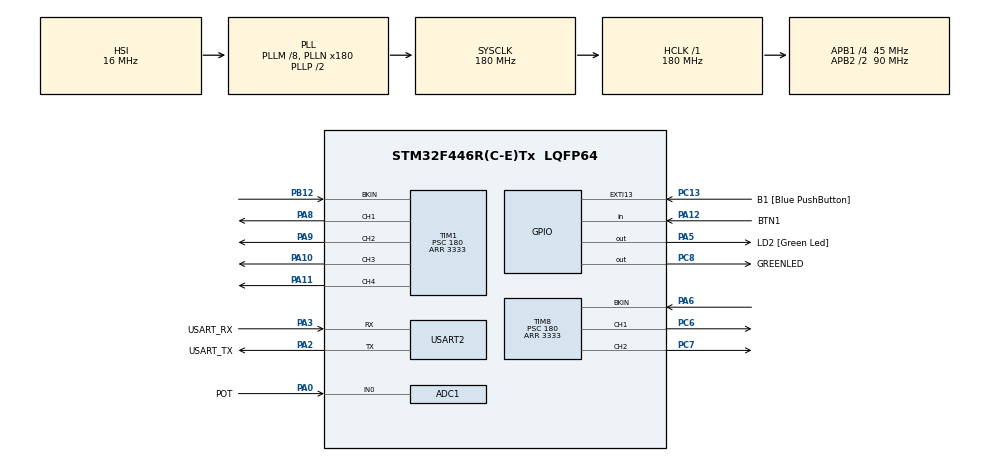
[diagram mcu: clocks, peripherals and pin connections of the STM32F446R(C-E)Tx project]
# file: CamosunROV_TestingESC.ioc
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ADC1.Channel-0\#ChannelRegularConversion=ADC_CHANNEL_0
ADC1.ContinuousConvMode=ENABLE
ADC1.DMAContinuousRequests=ENABLE
ADC1.InjNumberOfConversion=0
ADC1.NbrOfConversion=1
ADC1.NbrOfConversionFlag=1
ADC1.Rank-0\#ChannelRegularConversion=1
ADC1.SamplingTime-0\#ChannelRegularConversion=ADC_SAMPLETIME_480CYCLES
ADC1.ScanConvMode=ENABLE
ADC1.master=1
Dma.ADC1.0.Direction=DMA_PERIPH_TO_MEMORY
Dma.ADC1.0.FIFOMode=DMA_FIFOMODE_DISABLE
Dma.ADC1.0.Instance=DMA2_Stream0
Dma.ADC1.0.MemDataAlignment=DMA_MDATAALIGN_HALFWORD
Dma.ADC1.0.MemInc=DMA_MINC_ENABLE
Dma.ADC1.0.Mode=DMA_CIRCULAR
Dma.ADC1.0.PeriphDataAlignment=DMA_PDATAALIGN_HALFWORD
Dma.ADC1.0.PeriphInc=DMA_PINC_DISABLE
Dma.ADC1.0.Priority=DMA_PRIORITY_LOW
Dma.Request0=ADC1
Mcu.Family=STM32F4
Mcu.Name=STM32F446R(C-E)Tx
Mcu.Package=LQFP64
NVIC.DMA2_Stream0_IRQn=true\:0\:0\:false\:false\:true\:false\:true\:true
NVIC.PriorityGroup=NVIC_PRIORITYGROUP_0
NVIC.TIM1_BRK_TIM9_IRQn=true\:0\:0\:false\:false\:true\:true\:true\:true
NVIC.TIM8_BRK_TIM12_IRQn=true\:0\:0\:false\:false\:true\:true\:true\:true
PA0-WKUP.GPIO_Label=POT
PA0-WKUP.Signal=ADCx_IN0
PA10.Signal=S_TIM1_CH3
PA11.Signal=S_TIM1_CH4
PA12.GPIO_Label=BTN1
PA12.Signal=GPIO_Input
PA13.GPIO_Label=TMS
PA13.Mode=Serial_Wire
PA13.Signal=SYS_JTMS-SWDIO
PA14.GPIO_Label=TCK
PA14.Mode=Serial_Wire
PA14.Signal=SYS_JTCK-SWCLK
PA2.GPIO_Label=USART_TX
PA2.Mode=Asynchronous
PA2.Signal=USART2_TX
PA3.GPIO_Label=USART_RX
PA3.Mode=Asynchronous
PA3.Signal=USART2_RX
PA5.GPIO_Label=LD2 [Green Led]
PA5.Signal=GPIO_Output
PA6.Mode=Activate-Break-Input
PA6.Signal=TIM8_BKIN
PA8.Signal=S_TIM1_CH1
PA9.Signal=S_TIM1_CH2
PB12.Mode=Activate-Break-Input
PB12.Signal=TIM1_BKIN
PB3.GPIO_Label=SWO
PB3.Signal=SYS_JTDO-SWO
PC13.GPIO_Label=B1 [Blue PushButton]
PC13.GPIO_ModeDefaultEXTI=GPIO_MODE_IT_FALLING
PC13.Signal=GPXTI13
PC14-OSC32_IN.Mode=LSE-External-Oscillator
PC14-OSC32_IN.Signal=RCC_OSC32_IN
PC15-OSC32_OUT.Mode=LSE-External-Oscillator
PC15-OSC32_OUT.Signal=RCC_OSC32_OUT
PC6.Signal=S_TIM8_CH1
PC7.Signal=S_TIM8_CH2
PC8.GPIO_Label=GREENLED
PC8.Signal=GPIO_Output
PH0-OSC_IN.Mode=HSE-External-Oscillator
PH0-OSC_IN.Signal=RCC_OSC_IN
PH1-OSC_OUT.Mode=HSE-External-Oscillator
PH1-OSC_OUT.Signal=RCC_OSC_OUT
ProjectManager.HeapSize=0x200
ProjectManager.StackSize=0x400
ProjectManager.TargetToolchain=STM32CubeIDE
RCC.48MHZClocksFreq_Value=84000000
RCC.AHBFreq_Value=180000000
RCC.APB1CLKDivider=RCC_HCLK_DIV4
RCC.APB1Freq_Value=45000000
RCC.APB1TimFreq_Value=90000000
RCC.APB2CLKDivider=RCC_HCLK_DIV2
RCC.APB2Freq_Value=90000000
RCC.APB2TimFreq_Value=180000000
RCC.CortexFreq_Value=180000000
RCC.FLatency-AdvancedSettings=FLASH_LATENCY_5
RCC.HCLKFreq_Value=180000000
RCC.HSE_VALUE=8000000
RCC.HSI_VALUE=16000000
RCC.PLLM=8
RCC.PLLN=180
RCC.SYSCLKFreq_VALUE=180000000
RCC.SYSCLKSource=RCC_SYSCLKSOURCE_PLLCLK
RCC.USBFreq_Value=180000000
RCC.VCOOutputFreq_Value=360000000
SH.ADCx_IN0.0=ADC1_IN0,IN0
SH.S_TIM1_CH1.0=TIM1_CH1,PWM Generation1 CH1
SH.S_TIM1_CH2.0=TIM1_CH2,PWM Generation2 CH2
SH.S_TIM1_CH3.0=TIM1_CH3,PWM Generation3 CH3
SH.S_TIM1_CH4.0=TIM1_CH4,PWM Generation4 CH4
SH.S_TIM8_CH1.0=TIM8_CH1,PWM Generation1 CH1
SH.S_TIM8_CH2.0=TIM8_CH2,PWM Generation2 CH2
TIM1.AutoReloadPreload=TIM_AUTORELOAD_PRELOAD_DISABLE
TIM1.BreakState=TIM_BREAK_ENABLE
TIM1.Channel-PWM\ Generation1\ CH1=TIM_CHANNEL_1
TIM1.Channel-PWM\ Generation2\ CH2=TIM_CHANNEL_2
TIM1.Channel-PWM\ Generation3\ CH3=TIM_CHANNEL_3
TIM1.Channel-PWM\ Generation4\ CH4=TIM_CHANNEL_4
TIM1.OffStateIDLEMode=TIM_OSSI_ENABLE
TIM1.OffStateRunMode=TIM_OSSR_ENABLE
TIM1.Period=3333
TIM1.Prescaler=180
TIM8.BreakState=TIM_BREAK_ENABLE
TIM8.Channel-PWM\ Generation1\ CH1=TIM_CHANNEL_1
TIM8.Channel-PWM\ Generation2\ CH2=TIM_CHANNEL_2
TIM8.OffStateIDLEMode=TIM_OSSI_ENABLE
TIM8.OffStateRunMode=TIM_OSSR_ENABLE
TIM8.Period=3333
TIM8.Prescaler=180
USART2.VirtualMode=VM_ASYNC
VP_TIM1_VS_ClockSourceINT.Mode=Internal
VP_TIM8_VS_ClockSourceINT.Mode=Internal
board=NUCLEO-F446RE

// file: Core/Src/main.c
/* USER CODE BEGIN Header */
/**
 ******************************************************************************
 * @file           : main.c
 * @brief          : Main program body
 ******************************************************************************
 * @attention
 *
 * Copyright (c) 2026 STMicroelectronics.
 * All rights reserved.
 *
 * This software is licensed under terms that can be found in the LICENSE file
 * in the root directory of this software component.
 * If no LICENSE file comes with this software, it is provided AS-IS.
 *
 ******************************************************************************
 */
/* USER CODE END Header */
#include "main.h"

/* USER CODE BEGIN Includes */
#include <math.h>
#include <stdio.h>
#include "my_utils.h"
#include "motors.h"
/* USER CODE END Includes */

ADC_HandleTypeDef hadc1;
DMA_HandleTypeDef hdma_adc1;

TIM_HandleTypeDef htim1;
TIM_HandleTypeDef htim8;

UART_HandleTypeDef huart2;

/* USER CODE BEGIN PV */
volatile uint16_t adcValue = 0; // volatile because it's updated in the DMA interrupt callback
/* USER CODE END PV */

void SystemClock_Config(void);
static void MX_GPIO_Init(void);
static void MX_DMA_Init(void);
static void MX_USART2_UART_Init(void);
static void MX_ADC1_Init(void);
static void MX_TIM1_Init(void);
static void MX_TIM8_Init(void);

int main(void) {

	/* MCU Configuration--------------------------------------------------------*/

	/* Reset of all peripherals, Initializes the Flash interface and the Systick. */
	HAL_Init();

	/* Configure the system clock */
	SystemClock_Config();

	/* Initialize all configured peripherals */
	MX_GPIO_Init();
	MX_DMA_Init();
	MX_USART2_UART_Init();
	MX_ADC1_Init();
	MX_TIM1_Init();
	MX_TIM8_Init();
	/* USER CODE BEGIN 2 */
	HAL_ADC_Start_DMA(&hadc1, (uint32_t*) &adcValue, 1); // Start ADC in DMA mode, storing result in adcValue

	HAL_TIM_PWM_Start(MOTOR1_TIM, MOTOR1_CHANNEL); // Start PWM on TIM3 Channel 1
	HAL_TIM_PWM_Start(MOTOR2_TIM, MOTOR2_CHANNEL); // Start PWM on TIM3 Channel 2

	__HAL_TIM_ENABLE_IT(&htim1, TIM_IT_BREAK); // <-- enable the break interrupt
	__HAL_TIM_ENABLE_IT(&htim8, TIM_IT_BREAK); // <-- enable the break interrupt

	/* USER CODE END 2 */

	/* Infinite loop */
	while (1) {

		/* USER CODE BEGIN 3 */
		float potVoltage = analogToVoltage(adcValue); // Convert ADC value to voltage
		int32_t throttle_percent = lroundf(
				map(potVoltage, 0.0f, 3.3f, 0.0f, 100.0f));

		motor1(throttle_percent);
		motor2(throttle_percent);
		motor3(throttle_percent);
		motor4(throttle_percent);
		motor5(throttle_percent);
		motor6(throttle_percent);

		if (HAL_GPIO_ReadPin(BTN1_GPIO_Port, BTN1_Pin) == 1) {
			HAL_GPIO_WritePin(GREENLED_GPIO_Port, GREENLED_Pin, GPIO_PIN_RESET);
			reset_motors();
		}
	}
	/* USER CODE END 3 */
}

void SystemClock_Config(void) {
	RCC_OscInitTypeDef RCC_OscInitStruct = { 0 };
	RCC_ClkInitTypeDef RCC_ClkInitStruct = { 0 };

	/** Configure the main internal regulator output voltage
	 */
	__HAL_RCC_PWR_CLK_ENABLE();
	__HAL_PWR_VOLTAGESCALING_CONFIG(PWR_REGULATOR_VOLTAGE_SCALE1);

	/** Initializes the RCC Oscillators according to the specified parameters
	 * in the RCC_OscInitTypeDef structure.
	 */
	RCC_OscInitStruct.OscillatorType = RCC_OSCILLATORTYPE_HSI;
	RCC_OscInitStruct.HSIState = RCC_HSI_ON;
	RCC_OscInitStruct.HSICalibrationValue = RCC_HSICALIBRATION_DEFAULT;
	RCC_OscInitStruct.PLL.PLLState = RCC_PLL_ON;
	RCC_OscInitStruct.PLL.PLLSource = RCC_PLLSOURCE_HSI;
	RCC_OscInitStruct.PLL.PLLM = 8;
	RCC_OscInitStruct.PLL.PLLN = 180;
	RCC_OscInitStruct.PLL.PLLP = RCC_PLLP_DIV2;
	RCC_OscInitStruct.PLL.PLLQ = 2;
	RCC_OscInitStruct.PLL.PLLR = 2;
	if (HAL_RCC_OscConfig(&RCC_OscInitStruct) != HAL_OK) {
		Error_Handler();
	}

	/** Activate the Over-Drive mode
	 */
	if (HAL_PWREx_EnableOverDrive() != HAL_OK) {
		Error_Handler();
	}

	/** Initializes the CPU, AHB and APB buses clocks
	 */
	RCC_ClkInitStruct.ClockType = RCC_CLOCKTYPE_HCLK | RCC_CLOCKTYPE_SYSCLK
			| RCC_CLOCKTYPE_PCLK1 | RCC_CLOCKTYPE_PCLK2;
	RCC_ClkInitStruct.SYSCLKSource = RCC_SYSCLKSOURCE_PLLCLK;
	RCC_ClkInitStruct.AHBCLKDivider = RCC_SYSCLK_DIV1;
	RCC_ClkInitStruct.APB1CLKDivider = RCC_HCLK_DIV4;
	RCC_ClkInitStruct.APB2CLKDivider = RCC_HCLK_DIV2;

	if (HAL_RCC_ClockConfig(&RCC_ClkInitStruct, FLASH_LATENCY_5) != HAL_OK) {
		Error_Handler();
	}
}

static void MX_ADC1_Init(void) {

	ADC_ChannelConfTypeDef sConfig = { 0 };

	/** Configure the global features of the ADC (Clock, Resolution, Data Alignment and number of conversion)
	 */
	hadc1.Instance = ADC1;
	hadc1.Init.ClockPrescaler = ADC_CLOCK_SYNC_PCLK_DIV4;
	hadc1.Init.Resolution = ADC_RESOLUTION_12B;
	hadc1.Init.ScanConvMode = ENABLE;
	hadc1.Init.ContinuousConvMode = ENABLE;
	hadc1.Init.DiscontinuousConvMode = DISABLE;
	hadc1.Init.ExternalTrigConvEdge = ADC_EXTERNALTRIGCONVEDGE_NONE;
	hadc1.Init.ExternalTrigConv = ADC_SOFTWARE_START;
	hadc1.Init.DataAlign = ADC_DATAALIGN_RIGHT;
	hadc1.Init.NbrOfConversion = 1;
	hadc1.Init.DMAContinuousRequests = ENABLE;
	hadc1.Init.EOCSelection = ADC_EOC_SINGLE_CONV;
	if (HAL_ADC_Init(&hadc1) != HAL_OK) {
		Error_Handler();
	}

	/** Configure for the selected ADC regular channel its corresponding rank in the sequencer and its sample time.
	 */
	sConfig.Channel = ADC_CHANNEL_0;
	sConfig.Rank = 1;
	sConfig.SamplingTime = ADC_SAMPLETIME_480CYCLES;
	if (HAL_ADC_ConfigChannel(&hadc1, &sConfig) != HAL_OK) {
		Error_Handler();
	}

}

static void MX_TIM1_Init(void) {

	TIM_ClockConfigTypeDef sClockSourceConfig = { 0 };
	TIM_MasterConfigTypeDef sMasterConfig = { 0 };
	TIM_OC_InitTypeDef sConfigOC = { 0 };
	TIM_BreakDeadTimeConfigTypeDef sBreakDeadTimeConfig = { 0 };

	htim1.Instance = TIM1;
	htim1.Init.Prescaler = 180;
	htim1.Init.CounterMode = TIM_COUNTERMODE_UP;
	htim1.Init.Period = 3333;
	htim1.Init.ClockDivision = TIM_CLOCKDIVISION_DIV1;
	htim1.Init.RepetitionCounter = 0;
	htim1.Init.AutoReloadPreload = TIM_AUTORELOAD_PRELOAD_DISABLE;
	if (HAL_TIM_Base_Init(&htim1) != HAL_OK) {
		Error_Handler();
	}
	sClockSourceConfig.ClockSource = TIM_CLOCKSOURCE_INTERNAL;
	if (HAL_TIM_ConfigClockSource(&htim1, &sClockSourceConfig) != HAL_OK) {
		Error_Handler();
	}
	if (HAL_TIM_PWM_Init(&htim1) != HAL_OK) {
		Error_Handler();
	}
	sMasterConfig.MasterOutputTrigger = TIM_TRGO_RESET;
	sMasterConfig.MasterSlaveMode = TIM_MASTERSLAVEMODE_DISABLE;
	if (HAL_TIMEx_MasterConfigSynchronization(&htim1, &sMasterConfig)
			!= HAL_OK) {
		Error_Handler();
	}
	sConfigOC.OCMode = TIM_OCMODE_PWM1;
	sConfigOC.Pulse = 0;
	sConfigOC.OCPolarity = TIM_OCPOLARITY_HIGH;
	sConfigOC.OCNPolarity = TIM_OCNPOLARITY_HIGH;
	sConfigOC.OCFastMode = TIM_OCFAST_DISABLE;
	sConfigOC.OCIdleState = TIM_OCIDLESTATE_RESET;
	sConfigOC.OCNIdleState = TIM_OCNIDLESTATE_RESET;
	if (HAL_TIM_PWM_ConfigChannel(&htim1, &sConfigOC, TIM_CHANNEL_1)
			!= HAL_OK) {
		Error_Handler();
	}
	if (HAL_TIM_PWM_ConfigChannel(&htim1, &sConfigOC, TIM_CHANNEL_2)
			!= HAL_OK) {
		Error_Handler();
	}
	if (HAL_TIM_PWM_ConfigChannel(&htim1, &sConfigOC, TIM_CHANNEL_3)
			!= HAL_OK) {
		Error_Handler();
	}
	if (HAL_TIM_PWM_ConfigChannel(&htim1, &sConfigOC, TIM_CHANNEL_4)
			!= HAL_OK) {
		Error_Handler();
	}
	sBreakDeadTimeConfig.OffStateRunMode = TIM_OSSR_ENABLE;
	sBreakDeadTimeConfig.OffStateIDLEMode = TIM_OSSI_ENABLE;
	sBreakDeadTimeConfig.LockLevel = TIM_LOCKLEVEL_OFF;
	sBreakDeadTimeConfig.DeadTime = 0;
	sBreakDeadTimeConfig.BreakState = TIM_BREAK_ENABLE;
	sBreakDeadTimeConfig.BreakPolarity = TIM_BREAKPOLARITY_HIGH;
	sBreakDeadTimeConfig.AutomaticOutput = TIM_AUTOMATICOUTPUT_DISABLE;
	if (HAL_TIMEx_ConfigBreakDeadTime(&htim1, &sBreakDeadTimeConfig)
			!= HAL_OK) {
		Error_Handler();
	}
	HAL_TIM_MspPostInit(&htim1);

}

static void MX_TIM8_Init(void) {

	TIM_ClockConfigTypeDef sClockSourceConfig = { 0 };
	TIM_MasterConfigTypeDef sMasterConfig = { 0 };
	TIM_OC_InitTypeDef sConfigOC = { 0 };
	TIM_BreakDeadTimeConfigTypeDef sBreakDeadTimeConfig = { 0 };

	htim8.Instance = TIM8;
	htim8.Init.Prescaler = 180;
	htim8.Init.CounterMode = TIM_COUNTERMODE_UP;
	htim8.Init.Period = 3333;
	htim8.Init.ClockDivision = TIM_CLOCKDIVISION_DIV1;
	htim8.Init.RepetitionCounter = 0;
	htim8.Init.AutoReloadPreload = TIM_AUTORELOAD_PRELOAD_DISABLE;
	if (HAL_TIM_Base_Init(&htim8) != HAL_OK) {
		Error_Handler();
	}
	sClockSourceConfig.ClockSource = TIM_CLOCKSOURCE_INTERNAL;
	if (HAL_TIM_ConfigClockSource(&htim8, &sClockSourceConfig) != HAL_OK) {
		Error_Handler();
	}
	if (HAL_TIM_PWM_Init(&htim8) != HAL_OK) {
		Error_Handler();
	}
	sMasterConfig.MasterOutputTrigger = TIM_TRGO_RESET;
	sMasterConfig.MasterSlaveMode = TIM_MASTERSLAVEMODE_DISABLE;
	if (HAL_TIMEx_MasterConfigSynchronization(&htim8, &sMasterConfig)
			!= HAL_OK) {
		Error_Handler();
	}
	sConfigOC.OCMode = TIM_OCMODE_PWM1;
	sConfigOC.Pulse = 0;
	sConfigOC.OCPolarity = TIM_OCPOLARITY_HIGH;
	sConfigOC.OCNPolarity = TIM_OCNPOLARITY_HIGH;
	sConfigOC.OCFastMode = TIM_OCFAST_DISABLE;
	sConfigOC.OCIdleState = TIM_OCIDLESTATE_RESET;
	sConfigOC.OCNIdleState = TIM_OCNIDLESTATE_RESET;
	if (HAL_TIM_PWM_ConfigChannel(&htim8, &sConfigOC, TIM_CHANNEL_1)
			!= HAL_OK) {
		Error_Handler();
	}
	if (HAL_TIM_PWM_ConfigChannel(&htim8, &sConfigOC, TIM_CHANNEL_2)
			!= HAL_OK) {
		Error_Handler();
	}
	sBreakDeadTimeConfig.OffStateRunMode = TIM_OSSR_ENABLE;
	sBreakDeadTimeConfig.OffStateIDLEMode = TIM_OSSI_ENABLE;
	sBreakDeadTimeConfig.LockLevel = TIM_LOCKLEVEL_OFF;
	sBreakDeadTimeConfig.DeadTime = 0;
	sBreakDeadTimeConfig.BreakState = TIM_BREAK_ENABLE;
	sBreakDeadTimeConfig.BreakPolarity = TIM_BREAKPOLARITY_HIGH;
	sBreakDeadTimeConfig.AutomaticOutput = TIM_AUTOMATICOUTPUT_DISABLE;
	if (HAL_TIMEx_ConfigBreakDeadTime(&htim8, &sBreakDeadTimeConfig)
			!= HAL_OK) {
		Error_Handler();
	}
	HAL_TIM_MspPostInit(&htim8);

}

static void MX_USART2_UART_Init(void) {

	huart2.Instance = USART2;
	huart2.Init.BaudRate = 115200;
	huart2.Init.WordLength = UART_WORDLENGTH_8B;
	huart2.Init.StopBits = UART_STOPBITS_1;
	huart2.Init.Parity = UART_PARITY_NONE;
	huart2.Init.Mode = UART_MODE_TX_RX;
	huart2.Init.HwFlowCtl = UART_HWCONTROL_NONE;
	huart2.Init.OverSampling = UART_OVERSAMPLING_16;
	if (HAL_UART_Init(&huart2) != HAL_OK) {
		Error_Handler();
	}

}

static void MX_DMA_Init(void) {

	/* DMA controller clock enable */
	__HAL_RCC_DMA2_CLK_ENABLE();

	/* DMA interrupt init */
	/* DMA2_Stream0_IRQn interrupt configuration */
	HAL_NVIC_SetPriority(DMA2_Stream0_IRQn, 0, 0);
	HAL_NVIC_EnableIRQ(DMA2_Stream0_IRQn);

}

static void MX_GPIO_Init(void) {
	GPIO_InitTypeDef GPIO_InitStruct = { 0 };

	/* GPIO Ports Clock Enable */
	__HAL_RCC_GPIOC_CLK_ENABLE();
	__HAL_RCC_GPIOH_CLK_ENABLE();
	__HAL_RCC_GPIOA_CLK_ENABLE();
	__HAL_RCC_GPIOB_CLK_ENABLE();

	/*Configure GPIO pin Output Level */
	HAL_GPIO_WritePin(LD2_GPIO_Port, LD2_Pin, GPIO_PIN_RESET);

	/*Configure GPIO pin Output Level */
	HAL_GPIO_WritePin(GREENLED_GPIO_Port, GREENLED_Pin, GPIO_PIN_RESET);

	/*Configure GPIO pin : B1_Pin */
	GPIO_InitStruct.Pin = B1_Pin;
	GPIO_InitStruct.Mode = GPIO_MODE_IT_FALLING;
	GPIO_InitStruct.Pull = GPIO_NOPULL;
	HAL_GPIO_Init(B1_GPIO_Port, &GPIO_InitStruct);

	/*Configure GPIO pin : LD2_Pin */
	GPIO_InitStruct.Pin = LD2_Pin;
	GPIO_InitStruct.Mode = GPIO_MODE_OUTPUT_PP;
	GPIO_InitStruct.Pull = GPIO_NOPULL;
	GPIO_InitStruct.Speed = GPIO_SPEED_FREQ_LOW;
	HAL_GPIO_Init(LD2_GPIO_Port, &GPIO_InitStruct);

	/*Configure GPIO pin : GREENLED_Pin */
	GPIO_InitStruct.Pin = GREENLED_Pin;
	GPIO_InitStruct.Mode = GPIO_MODE_OUTPUT_PP;
	GPIO_InitStruct.Pull = GPIO_NOPULL;
	GPIO_InitStruct.Speed = GPIO_SPEED_FREQ_LOW;
	HAL_GPIO_Init(GREENLED_GPIO_Port, &GPIO_InitStruct);

	/*Configure GPIO pin : BTN1_Pin */
	GPIO_InitStruct.Pin = BTN1_Pin;
	GPIO_InitStruct.Mode = GPIO_MODE_INPUT;
	GPIO_InitStruct.Pull = GPIO_NOPULL;
	HAL_GPIO_Init(BTN1_GPIO_Port, &GPIO_InitStruct);

}

/* USER CODE BEGIN 4 */
int __io_putchar(int ch) {
//	HAL_UART_Transmit(&huart2, (uint8_t*) &ch, 1, HAL_MAX_DELAY); // Transmit the character over UART
	ITM_SendChar(ch); // Send the character to the SWO console (for debugging)
	return ch;
}

void HAL_TIMEx_BreakCallback(TIM_HandleTypeDef *htim) {
	if (htim->Instance == TIM1 || htim->Instance == TIM8) {
		HAL_GPIO_WritePin(GREENLED_GPIO_Port, GREENLED_Pin, GPIO_PIN_SET);
	}
}
/* USER CODE END 4 */

void Error_Handler(void) {
	__disable_irq();
	while (1) {
	}
}
